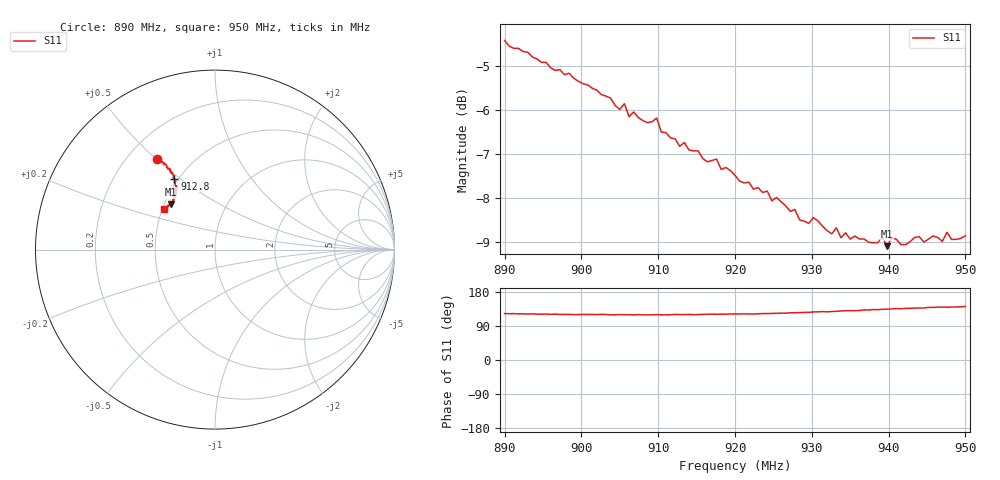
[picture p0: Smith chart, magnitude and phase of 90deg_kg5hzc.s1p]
# HZ S RI R 50
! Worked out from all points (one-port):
!   101 points, 890 MHz to 950 MHz, reference 50 ohm
!   lowest |S11| = -9.1 dB at 939.8 MHz (marker M1), VSWR 2.08, Z = 27.2 + j15.6 ohm
!   |S11| at or under -10 dB: nowhere
!   S11 on the Smith chart (normalised r, x): 890 MHz: 0.32, +0.50; 912.8 MHz: 0.48, +0.48; 950 MHz: 0.51, +0.27
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8.9e8  -0.323 0.5066
8.978e8  -0.2772 0.4745
9.026e8  -0.2644 0.4498
9.038e8  -0.2512 0.4518
9.05e8  -0.2494 0.4356
9.056e8  -0.2512 0.4433
9.062e8  -0.2418 0.429
9.068e8  -0.2433 0.4351
9.086e8  -0.2353 0.4241
9.098e8  -0.2428 0.4266
9.104e8  -0.2314 0.4128
9.122e8  -0.2347 0.4013
9.128e8  -0.226 0.3959
9.152e8  -0.2251 0.3902
9.164e8  -0.2238 0.3763
9.176e8  -0.224 0.3798
9.2e8  -0.2216 0.3598
9.224e8  -0.2126 0.3479
9.278e8  -0.2196 0.3183
9.284e8  -0.2161 0.3081
9.302e8  -0.227 0.3029
9.32e8  -0.2206 0.2919
9.35e8  -0.2309 0.2735
9.392e8  -0.2489 0.2596
9.398e8  -0.2446 0.2522
9.404e8  -0.2523 0.2553
9.428e8  -0.258 0.2445
9.5e8  -0.2824 0.2248
